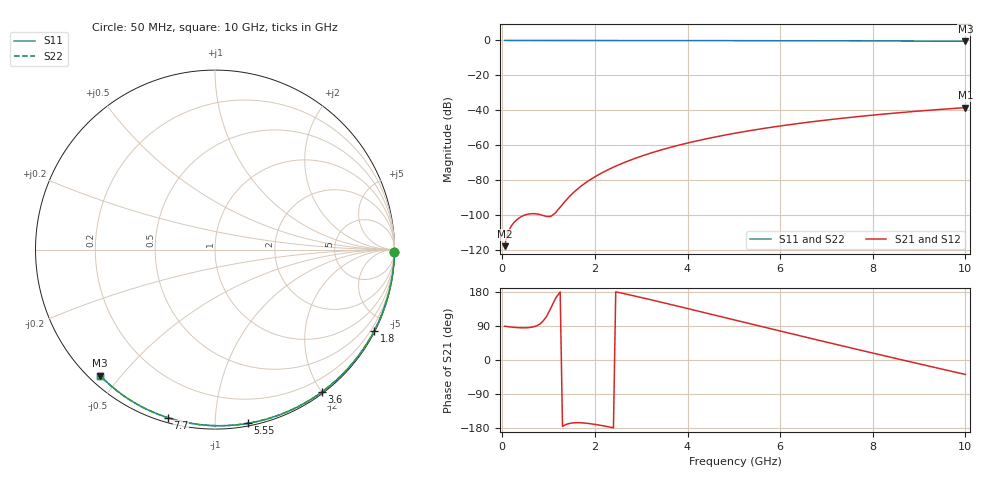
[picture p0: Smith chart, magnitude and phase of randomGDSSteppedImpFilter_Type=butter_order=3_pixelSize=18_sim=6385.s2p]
! freq	dB(S11)	phase(S11)	dB(S12)	phase(S12)
!  dB(S21)	phase(S21)	dB(S22)	phase(S22)
!S-par simulation data
#  GHz  S  DB  R 50
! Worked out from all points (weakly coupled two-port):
!   200 points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, 50 MHz to 10 GHz, reference 50 ohm
!   highest |S21| = -38.41 dB at 10 GHz (marker M1); lowest = -117.7 dB at 50 MHz (marker M2)
!   lowest |S11| = -0.4 dB at 10 GHz (marker M3), VSWR 39.03, Z = 1.53 - j22.1 ohm
!   |S11| at or under -10 dB: nowhere
!   |S22| runs from -0.4 to 0.0 dB; largest |S21 - S12| = 0
!   S11 on the Smith chart (normalised r, x): 50 MHz: open; 1.8 GHz: 0.04, -4.15; 3.6 GHz: 0.02, -2.01; 5.55 GHz: 0.02, -1.21; 7.7 GHz: 0.02, -0.76; 10 GHz: 0.03, -0.44
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0.05  -0.00 -0.8  -117.66 89.1  -117.66 89.1  -0.00 -0.8
0.9  -0.02 -13.7  -100.29 105.7  -100.29 105.7  -0.02 -13.7
1.75  -0.03 -26.4  -82.35 -166.1  -82.35 -166.1  -0.03 -26.4
1.8  -0.03 -27.1  -81.40 -166.7  -81.40 -166.7  -0.03 -27.1
1.85  -0.04 -27.9  -80.49 -167.3  -80.49 -167.3  -0.04 -27.9
1.9  -0.04 -28.6  -79.62 -168.1  -79.62 -168.1  -0.04 -28.6
2.05  -0.04 -30.8  -77.21 -170.8  -77.21 -170.8  -0.04 -30.8
2.25  -0.04 -33.7  -74.37 -175.3  -74.37 -175.3  -0.04 -33.7
2.45  -0.05 -36.6  -71.87 179.8  -71.87 179.8  -0.05 -36.6
2.65  -0.05 -39.5  -69.64 174.6  -69.64 174.6  -0.05 -39.5
3  -0.06 -44.5  -66.21 164.9  -66.21 164.9  -0.06 -44.5
3.4  -0.07 -50.2  -62.86 153.5  -62.86 153.5  -0.07 -50.2
3.6  -0.07 -53.0  -61.37 147.6  -61.37 147.6  -0.07 -53.0
4.3  -0.09 -62.6  -56.85 127.0  -56.85 127.0  -0.09 -62.6
5.05  -0.11 -72.7  -52.93 104.6  -52.93 104.6  -0.11 -72.7
5.55  -0.13 -79.2  -50.71 89.8  -50.71 89.8  -0.13 -79.2
6.1  -0.15 -86.2  -48.54 73.5  -48.54 73.5  -0.15 -86.2
6.7  -0.18 -93.6  -46.46 55.9  -46.46 55.9  -0.18 -93.6
7.7  -0.24 -105.7  -43.49 26.9  -43.49 26.9  -0.24 -105.7
8.35  -0.29 -113.4  -41.84 8.3  -41.84 8.3  -0.29 -113.4
9.15  -0.36 -122.6  -40.06 -14.4  -40.06 -14.4  -0.36 -122.6
10  -0.45 -132.3  -38.41 -38.2  -38.41 -38.2  -0.45 -132.3
